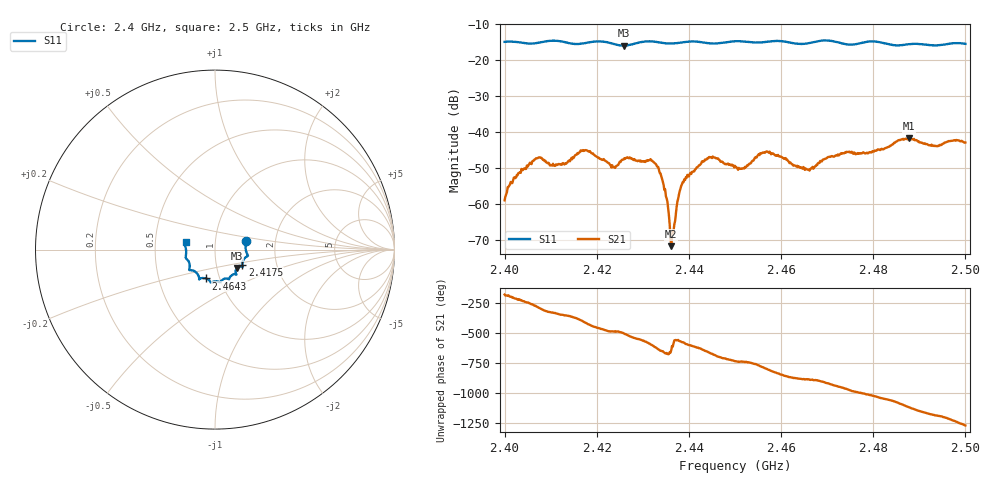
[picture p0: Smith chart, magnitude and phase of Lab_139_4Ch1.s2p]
# Hz S RI R 50
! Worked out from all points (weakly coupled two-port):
!   601 points, 2.4 GHz to 2.5 GHz, reference 50 ohm
!   highest |S21| = -41.78 dB at 2.4878 GHz (marker M1); lowest = -71.8 dB at 2.4362 GHz (marker M2)
!   lowest |S11| = -15.9 dB at 2.4258 GHz (marker M3), VSWR 1.38, Z = 62.3 - j13.2 ohm
!   |S11| at or under -10 dB: start of sweep to end of sweep
!   S12 and S22 are empty: the file has one direction only
!   S11 on the Smith chart (normalised r, x): 2.4 GHz: 1.41, +0.14; 2.4175 GHz: 1.34, -0.23; 2.4643 GHz: 0.86, -0.29; 2.5 GHz: 0.72, +0.06
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2.4e9  0.1733 0.0495  -0.00112 -2.47e-05  0 0  0 0
2.4025e9  0.1755 0.0386  -0.00197 0.00127  0 0  0 0
2.4065e9  0.1717 -0.00392  0.000117 0.00414  0 0  0 0
2.412833e9  0.1757 -0.0396  0.00355 0.000646  0 0  0 0
2.416667e9  0.1527 -0.0741  0.00448 -0.00306  0 0  0 0
2.4175e9  0.1519 -0.0836  0.00345 -0.0044  0 0  0 0
2.4235e9  0.1419 -0.0937  -0.00189 -0.00262  0 0  0 0
2.425833e9  0.122 -0.1031  -0.00323 -0.00257  0 0  0 0
2.433333e9  0.1135 -0.1371  0.000242 0.00325  0 0  0 0
2.434833e9  0.1034 -0.1378  0.00096 0.00127  0 0  0 0
2.436167e9  0.0929 -0.1434  5.19e-05 0.000252  0 0  0 0
2.436667e9  0.0894 -0.1464  -0.000308 0.000293  0 0  0 0
2.438167e9  0.0818 -0.1554  -0.00145 0.000745  0 0  0 0
2.439833e9  0.0794 -0.1632  -0.00137 0.00208  0 0  0 0
2.444833e9  0.0573 -0.1615  0.00285 0.00344  0 0  0 0
2.45e9  0.0288 -0.1814  0.00328 -0.000775  0 0  0 0
2.457167e9  -0.0148 -0.1807  0.000641 -0.00524  0 0  0 0
2.464333e9  -0.05 -0.1608  -0.00303 -0.00109  0 0  0 0
2.466667e9  -0.0762 -0.1592  -0.00306 -0.000703  0 0  0 0
2.483333e9  -0.1405 -0.0898  0.00558 0.00274  0 0  0 0
2.487833e9  -0.1597 -0.0507  0.00651 -0.00489  0 0  0 0
2.5e9  -0.1637 0.0426  -0.00707 0.00096  0 0  0 0
